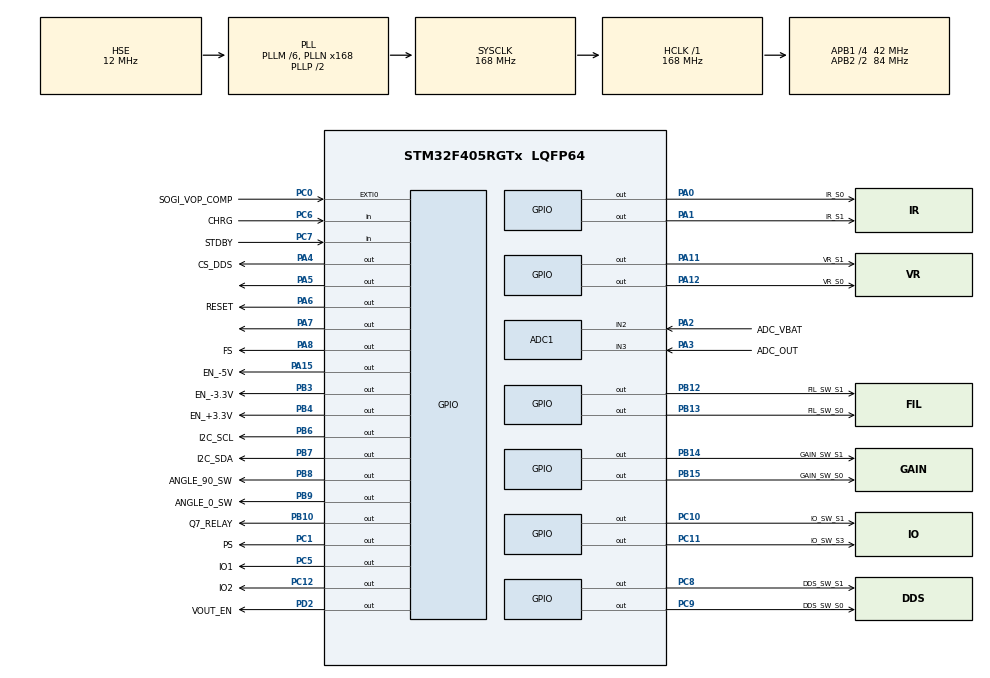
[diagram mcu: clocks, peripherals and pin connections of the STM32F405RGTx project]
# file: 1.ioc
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ADC1.Channel-0\#ChannelRegularConversion=ADC_CHANNEL_2
ADC1.NbrOfConversionFlag=1
ADC1.Rank-0\#ChannelRegularConversion=1
ADC1.SamplingTime-0\#ChannelRegularConversion=ADC_SAMPLETIME_3CYCLES
ADC1.master=1
Mcu.Family=STM32F4
Mcu.Name=STM32F405RGTx
Mcu.Package=LQFP64
NVIC.EXTI0_IRQn=true\:5\:0\:false\:false\:true\:true\:true\:true
NVIC.PriorityGroup=NVIC_PRIORITYGROUP_4
PA0-WKUP.GPIO_Label=IR_S0
PA0-WKUP.Signal=GPIO_Output
PA1.GPIO_Label=IR_S1
PA1.Signal=GPIO_Output
PA11.GPIO_Label=VR_S1
PA11.Signal=GPIO_Output
PA12.GPIO_Label=VR_S0
PA12.Signal=GPIO_Output
PA13.Mode=Serial_Wire
PA13.Signal=SYS_JTMS-SWDIO
PA14.Mode=Serial_Wire
PA14.Signal=SYS_JTCK-SWCLK
PA15.GPIO_Label=EN_-5V
PA15.Signal=GPIO_Output
PA2.GPIO_Label=ADC_VBAT
PA2.Signal=ADCx_IN2
PA3.GPIO_Label=ADC_OUT
PA3.Signal=ADCx_IN3
PA4.GPIO_Label=CS_DDS
PA4.PinState=GPIO_PIN_SET
PA4.Signal=GPIO_Output
PA5.GPIO_Speed=GPIO_SPEED_FREQ_HIGH
PA5.Signal=GPIO_Output
PA6.GPIO_Label=RESET
PA6.Signal=GPIO_Output
PA7.GPIO_Speed=GPIO_SPEED_FREQ_HIGH
PA7.Signal=GPIO_Output
PA8.GPIO_Label=FS
PA8.Signal=GPIO_Output
PB10.GPIO_Label=Q7_RELAY
PB10.Signal=GPIO_Output
PB12.GPIO_Label=FIL_SW_S1
PB12.GPIO_Speed=GPIO_SPEED_FREQ_HIGH
PB12.Signal=GPIO_Output
PB13.GPIO_Label=FIL_SW_S0
PB13.GPIO_Speed=GPIO_SPEED_FREQ_HIGH
PB13.Signal=GPIO_Output
PB14.GPIO_Label=GAIN_SW_S1
PB14.Signal=GPIO_Output
PB15.GPIO_Label=GAIN_SW_S0
PB15.Signal=GPIO_Output
PB3.GPIO_Label=EN_-3.3V
PB3.Signal=GPIO_Output
PB4.GPIO_Label=EN_+3.3V
PB4.PinState=GPIO_PIN_RESET
PB4.Signal=GPIO_Output
PB6.GPIO_Label=I2C_SCL
PB6.GPIO_ModeDefaultOutputPP=GPIO_MODE_OUTPUT_OD
PB6.GPIO_PuPd=GPIO_PULLUP
PB6.GPIO_Speed=GPIO_SPEED_FREQ_HIGH
PB6.Signal=GPIO_Output
PB7.GPIO_Label=I2C_SDA
PB7.GPIO_ModeDefaultOutputPP=GPIO_MODE_OUTPUT_OD
PB7.GPIO_PuPd=GPIO_PULLUP
PB7.GPIO_Speed=GPIO_SPEED_FREQ_HIGH
PB7.Signal=GPIO_Output
PB8.GPIO_Label=ANGLE_90_SW
PB8.GPIO_Speed=GPIO_SPEED_FREQ_HIGH
PB8.Signal=GPIO_Output
PB9.GPIO_Label=ANGLE_0_SW
PB9.GPIO_Speed=GPIO_SPEED_FREQ_HIGH
PB9.Signal=GPIO_Output
PC0.GPIO_Label=SOGI_VOP_COMP
PC0.GPIO_ModeDefaultEXTI=GPIO_MODE_IT_RISING_FALLING
PC0.Signal=GPXTI0
PC1.GPIO_Label=PS
PC1.Signal=GPIO_Output
PC10.GPIO_Label=IO_SW_S1
PC10.Signal=GPIO_Output
PC11.GPIO_Label=IO_SW_S3
PC11.PinState=GPIO_PIN_SET
PC11.Signal=GPIO_Output
PC12.GPIO_Label=IO2
PC12.Signal=GPIO_Output
PC14-OSC32_IN.Mode=LSE-External-Oscillator
PC14-OSC32_IN.Signal=RCC_OSC32_IN
PC15-OSC32_OUT.Mode=LSE-External-Oscillator
PC15-OSC32_OUT.Signal=RCC_OSC32_OUT
PC5.GPIO_Label=IO1
PC5.Signal=GPIO_Output
PC6.GPIO_Label=CHRG
PC6.Signal=GPIO_Input
PC7.GPIO_Label=STDBY
PC7.Signal=GPIO_Input
PC8.GPIO_Label=DDS_SW_S1
PC8.Signal=GPIO_Output
PC9.GPIO_Label=DDS_SW_S0
PC9.Signal=GPIO_Output
PD2.GPIO_Label=VOUT_EN
PD2.PinState=GPIO_PIN_SET
PD2.Signal=GPIO_Output
PH0-OSC_IN.Mode=HSE-External-Oscillator
PH0-OSC_IN.Signal=RCC_OSC_IN
PH1-OSC_OUT.Mode=HSE-External-Oscillator
PH1-OSC_OUT.Signal=RCC_OSC_OUT
ProjectManager.HeapSize=0x200
ProjectManager.StackSize=0x400
ProjectManager.TargetToolchain=MDK-ARM V5.32
RCC.48MHZClocksFreq_Value=84000000
RCC.AHBFreq_Value=168000000
RCC.APB1CLKDivider=RCC_HCLK_DIV4
RCC.APB1Freq_Value=42000000
RCC.APB1TimFreq_Value=84000000
RCC.APB2CLKDivider=RCC_HCLK_DIV2
RCC.APB2Freq_Value=84000000
RCC.APB2TimFreq_Value=168000000
RCC.CortexFreq_Value=168000000
RCC.HCLKFreq_Value=168000000
RCC.HSE_VALUE=12000000
RCC.HSI_VALUE=16000000
RCC.PLLM=6
RCC.PLLN=168
RCC.PLLSourceVirtual=RCC_PLLSOURCE_HSE
RCC.SYSCLKFreq_VALUE=168000000
RCC.SYSCLKSource=RCC_SYSCLKSOURCE_PLLCLK
RCC.VCOOutputFreq_Value=336000000
SH.ADCx_IN2.0=ADC1_IN2,IN2
SH.ADCx_IN3.0=ADC1_IN3,IN3
board=custom

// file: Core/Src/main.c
/* USER CODE BEGIN Header */
/**
  ******************************************************************************
  * @file           : main.c
  * @brief          : Main program body
  ******************************************************************************
  * @attention
  *
  * Copyright (c) 2026 STMicroelectronics.
  * All rights reserved.
  *
  * This software is licensed under terms that can be found in the LICENSE file
  * in the root directory of this software component.
  * If no LICENSE file comes with this software, it is provided AS-IS.
  *
  ******************************************************************************
  */
/* USER CODE END Header */
#include "main.h"
#include "adc.h"
#include "gpio.h"

/* USER CODE BEGIN Includes */
#include <math.h>
#include <stdio.h>

#include "9834.h"
#include "OLED.h"
/* USER CODE END Includes */

/* USER CODE BEGIN PD */
#define LCR_EXCITATION_FREQ_MILLIHZ   976600UL
#define LCR_TIM2_PRESCALER            0UL
#define LCR_TIM2_AUTORELOAD           21502UL
#define LCR_ADC_SAMPLE_COUNT          64U
#define LCR_MEASUREMENT_SETTLE_MS     180U
#define LCR_ADC_VREF_VOLT             3.3f
#define LCR_ADC_FULL_SCALE_COUNT      4095.0f
#define LCR_ADC_BIAS_VOLT             1.65f
#define LCR_REFERENCE_RESISTOR_OHM    1000.0f
#define LCR_OLED_REFRESH_MS           250U
#define LCR_OLED_SMOOTH_ALPHA         0.25f
#define LCR_KEY_DEBOUNCE_MS           30U
/* These switch defaults are a first pass for the 3.2 kOhm bring-up path. */
#define LCR_IR_RANGE_S0_STATE         GPIO_PIN_SET
#define LCR_IR_RANGE_S1_STATE         GPIO_PIN_RESET
#define LCR_FILTER_S0_STATE           GPIO_PIN_RESET
#define LCR_FILTER_S1_STATE           GPIO_PIN_SET
#define LCR_GAIN_S0_STATE             GPIO_PIN_SET
#define LCR_GAIN_S1_STATE             GPIO_PIN_RESET
/* 3.2 kOhm target: U5 selects 2Y1, which is address 01 and maps to the 10 kOhm branch. */
#define LCR_VR_S0_STATE               GPIO_PIN_RESET
#define LCR_VR_S1_STATE               GPIO_PIN_SET
/* USER CODE END PD */

/* USER CODE BEGIN PM */
typedef enum
{
  LCR_STEP_VOLTAGE_IN_PHASE = 0,
  LCR_STEP_VOLTAGE_QUADRATURE,
  LCR_STEP_CURRENT_IN_PHASE,
  LCR_STEP_CURRENT_QUADRATURE,
  LCR_STEP_COUNT
} LCR_MeasurementStep;

typedef struct
{
  volatile uint16_t raw_adc[LCR_STEP_COUNT];
  volatile float projection_volt[LCR_STEP_COUNT];
  volatile float voltage_real;
  volatile float voltage_imag;
  volatile float current_real;
  volatile float current_imag;
  volatile float impedance_real_ohm;
  volatile float impedance_imag_ohm;
  volatile float impedance_abs_ohm;
  volatile float phase_deg;
  volatile uint32_t update_count;
  volatile uint32_t sync_start_count;
  volatile uint32_t last_sync_tick_ms;
  volatile uint32_t last_sample_tick_ms;
  volatile uint16_t last_adc_average;
  volatile uint8_t last_sync_step;
  volatile uint8_t active_step;
  volatile uint8_t active_path_is_voltage;
  volatile uint8_t active_reference_is_quadrature;
} LCR_DebugData;

typedef enum
{
  LCR_DISPLAY_PAGE_MEASUREMENT = 0,
  LCR_DISPLAY_PAGE_DEBUG_VALUES
} LCR_DisplayPage;

/* USER CODE END PM */

/* USER CODE BEGIN PV */
static volatile uint8_t quadrature_step = 0U;
volatile LCR_DebugData lcr_debug = {0};
static LCR_MeasurementStep lcr_measurement_step = LCR_STEP_VOLTAGE_IN_PHASE;
static uint32_t lcr_next_sample_tick_ms = 0U;
static uint32_t lcr_next_oled_refresh_tick_ms = 0U;
static LCR_DisplayPage lcr_display_page = LCR_DISPLAY_PAGE_MEASUREMENT;
volatile uint8_t lcr_force_step_enable = 0U;
volatile uint8_t lcr_force_step_index = 0U;
/* USER CODE END PV */

void SystemClock_Config(void);
/* USER CODE BEGIN PFP */
static void LCR_Power_Enable(void);
static void LCR_Configure_ExcitationPath(void);
static void LCR_Configure_MeasurementPath(void);
static void LCR_Start_Excitation(void);
static void LCR_QuadratureOutput_SetStep(uint8_t step);
static void LCR_QuadratureOutput_Start(void);
static void LCR_Set_InputSelection(uint8_t select_voltage);
static void LCR_Set_ReferenceSelection(uint8_t select_quadrature);
static uint16_t LCR_ADC_ReadAverage(uint32_t sample_count);
static float LCR_ADC_CountToInputVolt(uint16_t adc_count);
static float LCR_ADC_CountToProjectionVolt(uint16_t adc_count);
static void LCR_UpdateImpedanceEstimate(void);
static void LCR_StartMeasurementStep(LCR_MeasurementStep step);
static void LCR_Measurement_Task(void);
static void LCR_Key_Task(void);
static void LCR_OLED_InitScreen(void);
static void LCR_OLED_Task(void);
static const char *LCR_GetStepName(LCR_MeasurementStep step);
void LCR_QuadratureOutput_Tick(void);
/* USER CODE END PFP */

/* USER CODE BEGIN 0 */
static void LCR_Power_Enable(void)
{

  HAL_GPIO_WritePin(EN__3_3VB4_GPIO_Port, EN__3_3VB4_Pin, GPIO_PIN_SET);
  HAL_GPIO_WritePin(VOUT_EN_GPIO_Port, VOUT_EN_Pin, GPIO_PIN_SET);
	HAL_Delay(500);
	HAL_GPIO_WritePin(EN__5V_GPIO_Port, EN__5V_Pin, GPIO_PIN_SET);
	HAL_GPIO_WritePin(EN__3_3V_GPIO_Port, EN__3_3V_Pin, GPIO_PIN_SET);
}

static void LCR_Configure_ExcitationPath(void)
{
  /* First bench bring-up: keep the DDS excitation switch matrix in the baseline path. */
  HAL_GPIO_WritePin(DDS_SW_S0_GPIO_Port, DDS_SW_S0_Pin, GPIO_PIN_RESET);
  HAL_GPIO_WritePin(DDS_SW_S1_GPIO_Port, DDS_SW_S1_Pin, GPIO_PIN_RESET);
  HAL_GPIO_WritePin(IO1_GPIO_Port, IO1_Pin, GPIO_PIN_RESET);
  HAL_GPIO_WritePin(IO2_GPIO_Port, IO2_Pin, GPIO_PIN_RESET);
  HAL_GPIO_WritePin(Q7_RELAY_GPIO_Port, Q7_RELAY_Pin, GPIO_PIN_RESET);
}

static void LCR_Configure_MeasurementPath(void)
{
  /* Fixed 3.2 kOhm bring-up path. 53_S1_IO is intentionally unused on this board. */
  HAL_GPIO_WritePin(IR_S0_GPIO_Port, IR_S0_Pin, LCR_IR_RANGE_S0_STATE);
  HAL_GPIO_WritePin(IR_S1_GPIO_Port, IR_S1_Pin, LCR_IR_RANGE_S1_STATE);
  HAL_GPIO_WritePin(FIL_SW_S0_GPIO_Port, FIL_SW_S0_Pin, LCR_FILTER_S0_STATE);
  HAL_GPIO_WritePin(FIL_SW_S1_GPIO_Port, FIL_SW_S1_Pin, LCR_FILTER_S1_STATE);
  HAL_GPIO_WritePin(GAIN_SW_S0_GPIO_Port, GAIN_SW_S0_Pin, LCR_GAIN_S0_STATE);
  HAL_GPIO_WritePin(GAIN_SW_S1_GPIO_Port, GAIN_SW_S1_Pin, LCR_GAIN_S1_STATE);
  HAL_GPIO_WritePin(VR_S0_GPIO_Port, VR_S0_Pin, LCR_VR_S0_STATE);
  HAL_GPIO_WritePin(VR_S1_GPIO_Port, VR_S1_Pin, LCR_VR_S1_STATE);
  HAL_GPIO_WritePin(IO_SW_S1_GPIO_Port, IO_SW_S1_Pin, GPIO_PIN_RESET);
}

static void LCR_Start_Excitation(void)
{
  AD9834_Set_MclkHz(75000000UL);
  AD9834_Init();
  AD9834_Set_FreqMilliHz(FREQ_0, LCR_EXCITATION_FREQ_MILLIHZ);
  AD9834_Set_Phase(PHASE_0, 0.0f);
  AD9834_Select_Wave(SINE_WAVE);
  AD9834_Set_OutputEnabled(1U);
  AD9834_Set_Reset(0U);
}

static void LCR_QuadratureOutput_SetStep(uint8_t step)
{
  uint32_t bsrr_value = 0U;

  switch (step & 0x03U)
  {
    case 0U:
      bsrr_value = ANGLE_0_SW_Pin | ((uint32_t)ANGLE_90_SW_Pin << 16U);
      break;

    case 1U:
      bsrr_value = ANGLE_0_SW_Pin | ANGLE_90_SW_Pin;
      break;

    case 2U:
      bsrr_value = ANGLE_90_SW_Pin | ((uint32_t)ANGLE_0_SW_Pin << 16U);
      break;

    default:
      bsrr_value = ((uint32_t)(ANGLE_0_SW_Pin | ANGLE_90_SW_Pin) << 16U);
      break;
  }

  GPIOB->BSRR = bsrr_value;
}

static void LCR_QuadratureOutput_Start(void)
{
  quadrature_step = 0U;
  LCR_QuadratureOutput_SetStep(quadrature_step);

  __HAL_RCC_TIM2_CLK_ENABLE();

  TIM2->CR1 = 0U;
  TIM2->PSC = (uint32_t)LCR_TIM2_PRESCALER;
  TIM2->ARR = (uint32_t)LCR_TIM2_AUTORELOAD;
  TIM2->CNT = 0U;
  TIM2->EGR = TIM_EGR_UG;
  TIM2->SR = 0U;
  TIM2->DIER = TIM_DIER_UIE;
  TIM2->CR1 = TIM_CR1_ARPE | TIM_CR1_CEN;

  HAL_NVIC_SetPriority(TIM2_IRQn, 4U, 0U);
  HAL_NVIC_EnableIRQ(TIM2_IRQn);
}

void LCR_QuadratureOutput_Tick(void)
{
  quadrature_step = (uint8_t)((quadrature_step + 1U) & 0x03U);
  LCR_QuadratureOutput_SetStep(quadrature_step);
}

static void LCR_Set_InputSelection(uint8_t select_voltage)
{
  /* User-confirmed mapping: 53_S3_IO=1 selects V_SIGE1, 53_S3_IO=0 selects I_SIGE1. */
  HAL_GPIO_WritePin(IO_SW_S3_GPIO_Port, IO_SW_S3_Pin, select_voltage ? GPIO_PIN_SET : GPIO_PIN_RESET);
  lcr_debug.active_path_is_voltage = select_voltage ? 1U : 0U;
}

static void LCR_Set_ReferenceSelection(uint8_t select_quadrature)
{
  /* User-confirmed mapping: PB10=1 selects 90 deg, PB10=0 selects 0 deg. */
  HAL_GPIO_WritePin(Q7_RELAY_GPIO_Port, Q7_RELAY_Pin, select_quadrature ? GPIO_PIN_SET : GPIO_PIN_RESET);
  lcr_debug.active_reference_is_quadrature = select_quadrature ? 1U : 0U;
}

static uint16_t LCR_ADC_ReadAverage(uint32_t sample_count)
{
  uint32_t i;
  uint32_t sum = 0U;

  if (sample_count == 0U)
  {
    sample_count = 1U;
  }

  for (i = 0U; i < sample_count; i++)
  {
    if (HAL_ADC_Start(&hadc1) != HAL_OK)
    {
      return 0U;
    }

    if (HAL_ADC_PollForConversion(&hadc1, 10U) != HAL_OK)
    {
      (void)HAL_ADC_Stop(&hadc1);
      return 0U;
    }

    sum += HAL_ADC_GetValue(&hadc1);
    (void)HAL_ADC_Stop(&hadc1);
  }

  return (uint16_t)(sum / sample_count);
}

static float LCR_ADC_CountToInputVolt(uint16_t adc_count)
{
  return ((float)adc_count * LCR_ADC_VREF_VOLT) / LCR_ADC_FULL_SCALE_COUNT;
}

static float LCR_ADC_CountToProjectionVolt(uint16_t adc_count)
{
  return LCR_ADC_CountToInputVolt(adc_count) - LCR_ADC_BIAS_VOLT;
}

static void LCR_UpdateImpedanceEstimate(void)
{
  float denominator;
  float real_part;
  float imag_part;
  float magnitude_sq;

  lcr_debug.voltage_real = lcr_debug.projection_volt[LCR_STEP_VOLTAGE_IN_PHASE];
  lcr_debug.voltage_imag = lcr_debug.projection_volt[LCR_STEP_VOLTAGE_QUADRATURE];
  lcr_debug.current_real = lcr_debug.projection_volt[LCR_STEP_CURRENT_IN_PHASE];
  lcr_debug.current_imag = lcr_debug.projection_volt[LCR_STEP_CURRENT_QUADRATURE];

  denominator = (lcr_debug.current_real * lcr_debug.current_real) +
                (lcr_debug.current_imag * lcr_debug.current_imag);
  if (denominator < 1.0e-12f)
  {
    lcr_debug.impedance_real_ohm = 0.0f;
    lcr_debug.impedance_imag_ohm = 0.0f;
    lcr_debug.impedance_abs_ohm = 0.0f;
    lcr_debug.phase_deg = 0.0f;
    return;
  }

  real_part = ((lcr_debug.voltage_real * lcr_debug.current_real) +
               (lcr_debug.voltage_imag * lcr_debug.current_imag)) / denominator;
  imag_part = ((lcr_debug.voltage_imag * lcr_debug.current_real) -
               (lcr_debug.voltage_real * lcr_debug.current_imag)) / denominator;

  lcr_debug.impedance_real_ohm = real_part * LCR_REFERENCE_RESISTOR_OHM;
  lcr_debug.impedance_imag_ohm = imag_part * LCR_REFERENCE_RESISTOR_OHM;

  magnitude_sq = (lcr_debug.impedance_real_ohm * lcr_debug.impedance_real_ohm) +
                 (lcr_debug.impedance_imag_ohm * lcr_debug.impedance_imag_ohm);
  lcr_debug.impedance_abs_ohm = sqrtf(magnitude_sq);
  lcr_debug.phase_deg = atan2f(lcr_debug.impedance_imag_ohm, lcr_debug.impedance_real_ohm) * 57.2957795f;
}

static void LCR_StartMeasurementStep(LCR_MeasurementStep step)
{
  lcr_measurement_step = step;
  lcr_debug.active_step = (uint8_t)step;

  switch (step)
  {
    case LCR_STEP_VOLTAGE_IN_PHASE:
      LCR_Set_InputSelection(1U);
      LCR_Set_ReferenceSelection(0U);
      break;

    case LCR_STEP_VOLTAGE_QUADRATURE:
      LCR_Set_InputSelection(1U);
      LCR_Set_ReferenceSelection(1U);
      break;

    case LCR_STEP_CURRENT_IN_PHASE:
      LCR_Set_InputSelection(0U);
      LCR_Set_ReferenceSelection(0U);
      break;

    default:
      LCR_Set_InputSelection(0U);
      LCR_Set_ReferenceSelection(1U);
      break;
  }

  lcr_debug.last_sync_step = (uint8_t)step;
  lcr_debug.last_sync_tick_ms = HAL_GetTick();
  lcr_debug.sync_start_count++;
  lcr_next_sample_tick_ms = HAL_GetTick() + LCR_MEASUREMENT_SETTLE_MS;
}

static void LCR_Measurement_Task(void)
{
  uint16_t adc_average;
  uint32_t now_tick_ms;
  LCR_MeasurementStep next_step;
  static uint8_t last_force_step_enable = 0U;
  static uint8_t last_force_step_index = 0xFFU;

  now_tick_ms = HAL_GetTick();

  if ((lcr_force_step_enable != last_force_step_enable) ||
      (lcr_force_step_index != last_force_step_index))
  {
    last_force_step_enable = lcr_force_step_enable;
    last_force_step_index = lcr_force_step_index;

    if (lcr_force_step_enable != 0U)
    {
      LCR_StartMeasurementStep((LCR_MeasurementStep)(lcr_force_step_index & 0x03U));
    }
  }

  if ((int32_t)(now_tick_ms - lcr_next_sample_tick_ms) < 0)
  {
    return;
  }

  adc_average = LCR_ADC_ReadAverage(LCR_ADC_SAMPLE_COUNT);
  lcr_debug.last_adc_average = adc_average;
  lcr_debug.last_sample_tick_ms = now_tick_ms;
  lcr_debug.raw_adc[lcr_measurement_step] = adc_average;
  lcr_debug.projection_volt[lcr_measurement_step] = LCR_ADC_CountToProjectionVolt(adc_average);

  if (lcr_force_step_enable != 0U)
  {
    next_step = (LCR_MeasurementStep)(lcr_force_step_index & 0x03U);
  }
  else
  {
    next_step = (LCR_MeasurementStep)(((uint32_t)lcr_measurement_step + 1U) % (uint32_t)LCR_STEP_COUNT);
  }

  if (next_step == LCR_STEP_VOLTAGE_IN_PHASE)
  {
    LCR_UpdateImpedanceEstimate();
    lcr_debug.update_count++;
  }

  LCR_StartMeasurementStep(next_step);
}

static void LCR_OLED_InitScreen(void)
{
  OLED_Init();
  OLED_Clear();
  OLED_Update();
}

static void LCR_Key_Task(void)
{
  GPIO_PinState key4_state;
  GPIO_PinState key1_state;
  uint32_t now_tick_ms;
  static GPIO_PinState last_key4_sampled_state = GPIO_PIN_SET;
  static GPIO_PinState key4_stable_state = GPIO_PIN_SET;
  static uint32_t last_key4_transition_tick_ms = 0U;
  static GPIO_PinState last_key1_sampled_state = GPIO_PIN_SET;
  static GPIO_PinState key1_stable_state = GPIO_PIN_SET;
  static uint32_t last_key1_transition_tick_ms = 0U;

  now_tick_ms = HAL_GetTick();
  key4_state = HAL_GPIO_ReadPin(KEY4_GPIO_Port, KEY4_Pin);
  key1_state = HAL_GPIO_ReadPin(KEY1_GPIO_Port, KEY1_Pin);

  if (key4_state != last_key4_sampled_state)
  {
    last_key4_sampled_state = key4_state;
    last_key4_transition_tick_ms = now_tick_ms;
  }

  if (((now_tick_ms - last_key4_transition_tick_ms) >= LCR_KEY_DEBOUNCE_MS) &&
      (key4_stable_state != last_key4_sampled_state))
  {
    key4_stable_state = last_key4_sampled_state;

    if (key4_stable_state == GPIO_PIN_RESET)
    {
      if (lcr_display_page == LCR_DISPLAY_PAGE_MEASUREMENT)
      {
        lcr_display_page = LCR_DISPLAY_PAGE_DEBUG_VALUES;
      }
      else
      {
        lcr_display_page = LCR_DISPLAY_PAGE_MEASUREMENT;
      }
    }
  }

  if (key1_state != last_key1_sampled_state)
  {
    last_key1_sampled_state = key1_state;
    last_key1_transition_tick_ms = now_tick_ms;
  }

  if (((now_tick_ms - last_key1_transition_tick_ms) >= LCR_KEY_DEBOUNCE_MS) &&
      (key1_stable_state != last_key1_sampled_state))
  {
    key1_stable_state = last_key1_sampled_state;

    if (key1_stable_state == GPIO_PIN_RESET)
    {
      lcr_force_step_enable = 1U;
      lcr_force_step_index = (uint8_t)((lcr_force_step_index + 1U) & 0x03U);
      lcr_display_page = LCR_DISPLAY_PAGE_DEBUG_VALUES;
    }
  }
}

static const char *LCR_GetStepName(LCR_MeasurementStep step)
{
  static const char *const step_names[LCR_STEP_COUNT] =
  {
    "V0",
    "V90",
    "I0",
    "I90"
  };

  return step_names[(uint32_t)step];
}

static void LCR_OLED_Task(void)
{
  char line_buffer[18];
  uint32_t now_tick_ms;
  float resistance_ohm;
  float phase_deg;
  static float filtered_resistance_ohm = 0.0f;
  static float filtered_phase_deg = 0.0f;
  static uint8_t filter_initialized = 0U;

  now_tick_ms = HAL_GetTick();
  if ((int32_t)(now_tick_ms - lcr_next_oled_refresh_tick_ms) < 0)
  {
    return;
  }

  lcr_next_oled_refresh_tick_ms = now_tick_ms + LCR_OLED_REFRESH_MS;

  resistance_ohm = lcr_debug.impedance_abs_ohm;
  if (resistance_ohm < 0.0f)
  {
    resistance_ohm = -resistance_ohm;
  }
  phase_deg = lcr_debug.phase_deg;

  if (filter_initialized == 0U)
  {
    filtered_resistance_ohm = resistance_ohm;
    filtered_phase_deg = phase_deg;
    filter_initialized = 1U;
  }
  else
  {
    filtered_resistance_ohm += (resistance_ohm - filtered_resistance_ohm) * LCR_OLED_SMOOTH_ALPHA;
    filtered_phase_deg += (phase_deg - filtered_phase_deg) * LCR_OLED_SMOOTH_ALPHA;
  }

  OLED_Clear();

  if (lcr_display_page == LCR_DISPLAY_PAGE_MEASUREMENT)
  {
  OLED_ShowString(0U, 0U, "LCR 976.6Hz", OLED_8X16);
    OLED_ShowString(0U, 16U, "R:", OLED_8X16);
    if (filtered_resistance_ohm >= 1000.0f)
    {
      (void)snprintf(line_buffer, sizeof(line_buffer), "%6.2fk", filtered_resistance_ohm / 1000.0f);
    }
    else
    {
      (void)snprintf(line_buffer, sizeof(line_buffer), "%7.1f", filtered_resistance_ohm);
    }
    OLED_ShowString(16U, 16U, line_buffer, OLED_8X16);

    OLED_ShowString(0U, 32U, "Phase:", OLED_8X16);
    (void)snprintf(line_buffer, sizeof(line_buffer), "%+6.2f", filtered_phase_deg);
    OLED_ShowString(48U, 32U, line_buffer, OLED_8X16);

    OLED_ShowString(0U, 48U, "Mode:", OLED_8X16);
    (void)snprintf(line_buffer, sizeof(line_buffer),
                   "%c %c %5lu",
                   lcr_debug.active_path_is_voltage ? 'V' : 'I',
                   lcr_debug.active_reference_is_quadrature ? 'Q' : 'P',
                   (unsigned long)lcr_debug.update_count);
    OLED_ShowString(40U, 48U, line_buffer, OLED_8X16);
  }
  else
  {
    (void)snprintf(line_buffer, sizeof(line_buffer), "DBG F:%s", LCR_GetStepName((LCR_MeasurementStep)(lcr_force_step_index & 0x03U)));
    OLED_ShowString(0U, 0U, line_buffer, OLED_6X8);
    (void)snprintf(line_buffer, sizeof(line_buffer), "ADC:%+5.3f", LCR_ADC_CountToInputVolt(lcr_debug.raw_adc[lcr_force_step_index & 0x03U]));
    OLED_ShowString(0U, 9U, line_buffer, OLED_6X8);
    (void)snprintf(line_buffer, sizeof(line_buffer), "V0 :%+6.3f", lcr_debug.projection_volt[LCR_STEP_VOLTAGE_IN_PHASE]);
    OLED_ShowString(0U, 18U, line_buffer, OLED_6X8);
    (void)snprintf(line_buffer, sizeof(line_buffer), "V90:%+6.3f", lcr_debug.projection_volt[LCR_STEP_VOLTAGE_QUADRATURE]);
    OLED_ShowString(0U, 27U, line_buffer, OLED_6X8);
    (void)snprintf(line_buffer, sizeof(line_buffer), "I0 :%+6.3f", lcr_debug.projection_volt[LCR_STEP_CURRENT_IN_PHASE]);
    OLED_ShowString(0U, 36U, line_buffer, OLED_6X8);
    (void)snprintf(line_buffer, sizeof(line_buffer), "I90:%+6.3f", lcr_debug.projection_volt[LCR_STEP_CURRENT_QUADRATURE]);
    OLED_ShowString(0U, 45U, line_buffer, OLED_6X8);
  }

  OLED_Update();
}

/* USER CODE END 0 */

int main(void)
{

  /* MCU Configuration--------------------------------------------------------*/

  /* Reset of all peripherals, Initializes the Flash interface and the Systick. */
  HAL_Init();

  /* Configure the system clock */
  SystemClock_Config();

  /* Initialize all configured peripherals */
  MX_GPIO_Init();
  MX_ADC1_Init();
  /* USER CODE BEGIN 2 */
  LCR_Power_Enable();
  LCR_Configure_ExcitationPath();
  LCR_Configure_MeasurementPath();
  LCR_Start_Excitation();
  LCR_QuadratureOutput_Start();
  HAL_Delay(20);
  LCR_OLED_InitScreen();
  lcr_next_oled_refresh_tick_ms = HAL_GetTick();
  LCR_StartMeasurementStep(LCR_STEP_VOLTAGE_IN_PHASE);
  /* USER CODE END 2 */

  /* Infinite loop */
  while (1)
  {

    /* USER CODE BEGIN 3 */
    LCR_Measurement_Task();
    LCR_Key_Task();
    LCR_OLED_Task();
    __WFI();
  }
  /* USER CODE END 3 */
}

void SystemClock_Config(void)
{
  RCC_OscInitTypeDef RCC_OscInitStruct = {0};
  RCC_ClkInitTypeDef RCC_ClkInitStruct = {0};

  /** Configure the main internal regulator output voltage
  */
  __HAL_RCC_PWR_CLK_ENABLE();
  __HAL_PWR_VOLTAGESCALING_CONFIG(PWR_REGULATOR_VOLTAGE_SCALE1);

  /** Initializes the RCC Oscillators according to the specified parameters
  * in the RCC_OscInitTypeDef structure.
  */
  RCC_OscInitStruct.OscillatorType = RCC_OSCILLATORTYPE_HSE;
  RCC_OscInitStruct.HSEState = RCC_HSE_ON;
  RCC_OscInitStruct.PLL.PLLState = RCC_PLL_ON;
  RCC_OscInitStruct.PLL.PLLSource = RCC_PLLSOURCE_HSE;
  RCC_OscInitStruct.PLL.PLLM = 6;
  RCC_OscInitStruct.PLL.PLLN = 168;
  RCC_OscInitStruct.PLL.PLLP = RCC_PLLP_DIV2;
  RCC_OscInitStruct.PLL.PLLQ = 4;
  if (HAL_RCC_OscConfig(&RCC_OscInitStruct) != HAL_OK)
  {
    Error_Handler();
  }

  /** Initializes the CPU, AHB and APB buses clocks
  */
  RCC_ClkInitStruct.ClockType = RCC_CLOCKTYPE_HCLK|RCC_CLOCKTYPE_SYSCLK
                              |RCC_CLOCKTYPE_PCLK1|RCC_CLOCKTYPE_PCLK2;
  RCC_ClkInitStruct.SYSCLKSource = RCC_SYSCLKSOURCE_PLLCLK;
  RCC_ClkInitStruct.AHBCLKDivider = RCC_SYSCLK_DIV1;
  RCC_ClkInitStruct.APB1CLKDivider = RCC_HCLK_DIV4;
  RCC_ClkInitStruct.APB2CLKDivider = RCC_HCLK_DIV2;

  if (HAL_RCC_ClockConfig(&RCC_ClkInitStruct, FLASH_LATENCY_5) != HAL_OK)
  {
    Error_Handler();
  }
}

void Error_Handler(void)
{
  __disable_irq();
  while (1)
  {
  }
}
